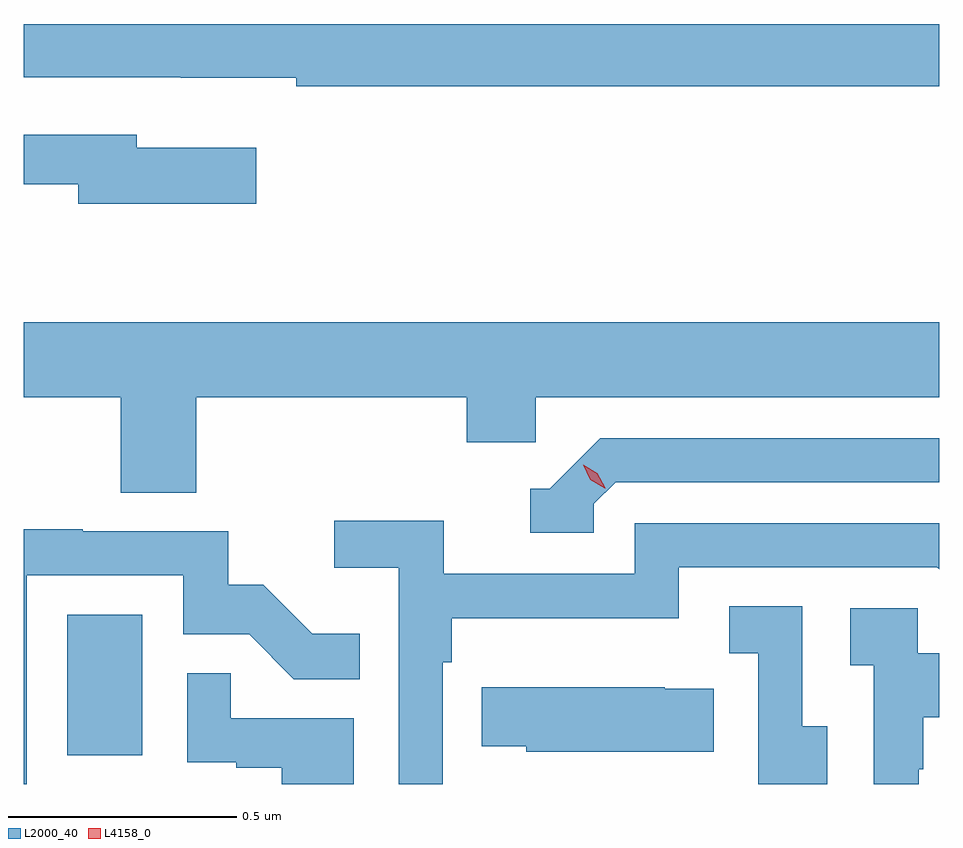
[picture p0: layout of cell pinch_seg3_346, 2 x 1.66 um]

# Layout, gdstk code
import gdstk
lib = gdstk.Library(unit=1e-6, precision=1e-09)
def R(c, l, rs):  # rectangles x0, y0, x1, y1
    for r in rs: c.add(gdstk.rectangle(r[:2], r[2:], *l))
def P(c, l, *ps):  # polygons
    for p in ps: c.add(gdstk.Polygon(p, *l))
L2000_40 = (2000, 40)
L4158_0 = (4158, 0)

pinch_seg3_346 = lib.new_cell('pinch_seg3_346')
R(pinch_seg3_346, L2000_40, [(968.96,718.782,969.124,719.089)])
P(pinch_seg3_346, L2000_40, [(970.865,720.38),(968.865,720.38),(968.865,720.264),(969.208,720.264),(969.208,720.263),(969.46,720.263),(969.46,720.244),(970.865,720.244)],
  [(969.373,720.109),(969.112,720.109),(969.112,720.138),(968.865,720.138),(968.865,720.03),(968.984,720.03),(968.984,719.987),(969.373,719.987)],
  [(969.242,719.564),(969.833,719.564),(969.833,719.466),(969.984,719.466),(969.984,719.564),(970.865,719.564),(970.865,719.728),(968.865,719.728),(968.865,719.564),(969.077,719.564),(969.077,719.356),(969.242,719.356)],
  [(970.11,719.331),(970.158,719.379),(970.865,719.379),(970.865,719.475),(970.125,719.475),(970.014,719.364),(969.971,719.364),(969.971,719.268),(970.11,719.268)],
  [(969.78,718.985),(969.8,718.985),(969.8,719.081),(970.296,719.081),(970.296,719.193),(970.86,719.193),(970.865,719.188),(970.865,719.289),(970.2,719.289),(970.2,719.178),(969.782,719.178),(969.782,719.294),(969.543,719.294),(969.543,719.192),(969.684,719.192),(969.684,718.719),(969.78,718.719)],
  [(968.871,719.175),(969.213,719.175),(969.213,719.046),(969.357,719.046),(969.455,718.948),(969.599,718.948),(969.599,719.047),(969.495,719.047),(969.388,719.154),(969.312,719.154),(969.312,719.271),(968.993,719.271),(968.993,719.276),(968.865,719.276),(968.865,718.719),(968.871,718.719)],
  [(970.621,718.845),(970.566,718.845),(970.566,719.108),(970.407,719.108),(970.407,719.005),(970.47,719.005),(970.47,718.719),(970.621,718.719)],
  [(970.821,718.751),(970.831,718.751),(970.831,718.865),(970.865,718.865),(970.865,719.005),(970.818,719.005),(970.818,719.103),(970.671,719.103),(970.671,718.979),(970.722,718.979),(970.722,718.719),(970.821,718.719)],
  [(969.586,718.863),(969.317,718.863),(969.317,718.961),(969.222,718.961),(969.222,718.767),(969.329,718.767),(969.329,718.755),(969.428,718.755),(969.428,718.719),(969.586,718.719)],
  [(970.373,718.927),(970.265,718.927),(970.265,718.93),(969.865,718.93),(969.865,718.801),(969.963,718.801),(969.963,718.79),(970.373,718.79)])
P(pinch_seg3_346, L4158_0, [(970.134,719.365),(970.103,719.384),(970.087,719.417),(970.087,719.417),(970.087,719.417),(970.118,719.398),(970.135,719.366),(970.135,719.365)])

lib.write_gds('pinch_seg3_346.gds')
